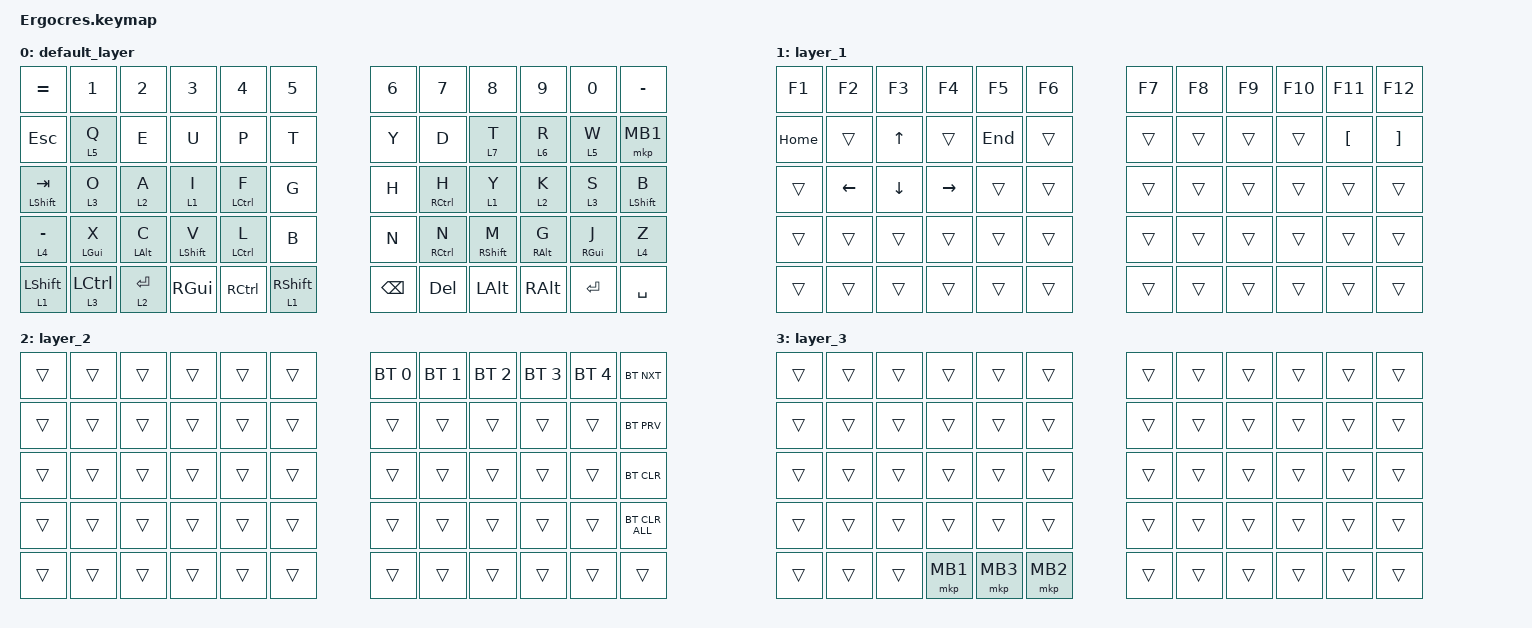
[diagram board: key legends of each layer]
#include <behaviors.dtsi>
#include <dt-bindings/zmk/bt.h>
#include <dt-bindings/zmk/keys.h>
#include <dt-bindings/zmk/pointing.h>
#include "keycode_japanese.h"

&mt { 
    flavor = "balanced"; 
    tapping-term-ms = <200>;
    quick-tap-ms = <150>; 
};

&lt {
    flavor = "balanced";
    tapping-term-ms = <200>; 
    quick-tap-ms = <150>; 
};


// 複数キーの同時押しに特別の入力を設定できる
    // キー番号早見表：
    // 0  1  2  3  4  5        6  7  8  9 10 11
    // 12 13 14 15 16 17      18 19 20 21 22 23
    // 24 25 26 27 28 29      30 31 32 33 34 35
    // 36 37 38 39 40 41      42 43 44 45 46 47




/ {
    combos { compatible = "zmk,combos"; 

        lang {
            bindings = <&kp GRAVE>;
            key-positions = <2 4>;
            layers = <0>;
            timeout-ms = <200>;
        };

        fopen {
            bindings = <&kp LG(N2)>;
            key-positions = <6 10>;
            layers = <0>;
            timeout-ms = <200>;
        };

       bootloader_R {
            bindings = <&bootloader>;
            key-positions = <6 11 30 35>;
            timeout-ms = <200>;
        };

       bootloader_L {
            bindings = <&bootloader>;
            key-positions = <0 5 36 41>;
            timeout-ms = <200>;
        };



};

    macros {
        to_layer_0: to_layer_0 {
            compatible = "zmk,behavior-macro-one-param";
            #binding-cells = <1>;
            bindings = <&to 0 &macro_param_1to1 &kp MACRO_PLACEHOLDER>;
            label = "TO_LAYER_0";
        };
    };

    lt_to_layer_0: lt_to_layer_0 {
        compatible = "zmk,behavior-hold-tap";
        label = "LAYER_TAP_TO_0";
        bindings = <&mo>, <&to_layer_0>;

        #binding-cells = <2>;
        tapping-term-ms = <200>;
    };
};

/ {
    behaviors {
    };

    keymap {
        compatible = "zmk,keymap";

        default_layer {
            bindings = <
&kp EQUAL         &kp N1              &kp N2       &kp N3    &kp N4     &kp N5                        &kp N6    &kp N7        &kp N8      &kp N9    &kp N0    &kp MINUS
&kp ESCAPE        &lt 5 Q             &kp E        &kp U                &kp P             &kp T       &kp Y     &kp D         &lt 7 T       &lt 6 R     &lt 5 W     &mkp MB1
&mt LSHIFT TAB    &lt 3 O             &lt 2 A      &lt 1 I              &mt LCTRL F       &kp G       &kp H     &mt RCTRL H   &lt 1 Y       &lt 2 K     &lt 3 S     &mt LEFT_SHIFT B
&lt 4 MINUS       &mt LGUI X          &mt LALT C   &mt LSHIFT V         &mt LCTRL L       &kp B       &kp N     &mt RCTRL N   &mt RSHIFT M  &mt RALT G  &mt RGUI J  &lt 4 Z
&lt 1 LEFT_SHIFT  &lt 3 LEFT_CONTROL  &lt 2 ENTER  &kp RGUI  &kp RCTRL  &lt 1 RIGHT_SHIFT                       &kp BSPC  &kp DEL  &kp LALT   &kp RALT  &kp RET   &kp SPACE
            >;
        };

        layer_1 {
            bindings = <
&kp F1    &kp F2          &kp F3          &kp F4           &kp F5   &kp F6    &kp F7  &kp F8  &kp F9  &kp F10  &kp F11   &kp F12
&kp HOME  &trans          &kp UP_ARROW    &trans           &kp END  &trans    &trans  &trans  &trans  &trans   &kp LBKT  &kp RBKT
&trans    &kp LEFT_ARROW  &kp DOWN_ARROW  &kp RIGHT_ARROW  &trans   &trans    &trans  &trans  &trans  &trans   &trans    &trans
&trans    &trans          &trans          &trans           &trans   &trans    &trans  &trans  &trans  &trans   &trans    &trans
&trans    &trans          &trans          &trans           &trans   &trans    &trans  &trans  &trans  &trans   &trans    &trans
            >;
        };

        layer_2 {
            bindings = <
&trans  &trans  &trans  &trans  &trans  &trans    &bt BT_SEL 0  &bt BT_SEL 1  &bt BT_SEL 2  &bt BT_SEL 3  &bt BT_SEL 4  &bt BT_NXT
&trans  &trans  &trans  &trans  &trans  &trans    &trans        &trans        &trans        &trans        &trans        &bt BT_PRV
&trans  &trans  &trans  &trans  &trans  &trans    &trans        &trans        &trans        &trans        &trans        &bt BT_CLR
&trans  &trans  &trans  &trans  &trans  &trans    &trans        &trans        &trans        &trans        &trans        &bt BT_CLR_ALL
&trans  &trans  &trans  &trans  &trans  &trans    &trans        &trans        &trans        &trans        &trans        &trans
            >;
        };

        layer_3 {
            bindings = <
&trans  &trans  &trans  &trans    &trans    &trans      &trans  &trans  &trans  &trans  &trans  &trans
&trans  &trans  &trans  &trans    &trans    &trans      &trans  &trans  &trans  &trans  &trans  &trans
&trans  &trans  &trans  &trans    &trans    &trans      &trans  &trans  &trans  &trans  &trans  &trans
&trans  &trans  &trans  &trans    &trans    &trans      &trans  &trans  &trans  &trans  &trans  &trans
&trans  &trans  &trans  &mkp MB1  &mkp MB3  &mkp MB2    &trans  &trans  &trans  &trans  &trans  &trans
            >;
        };
    };
};
